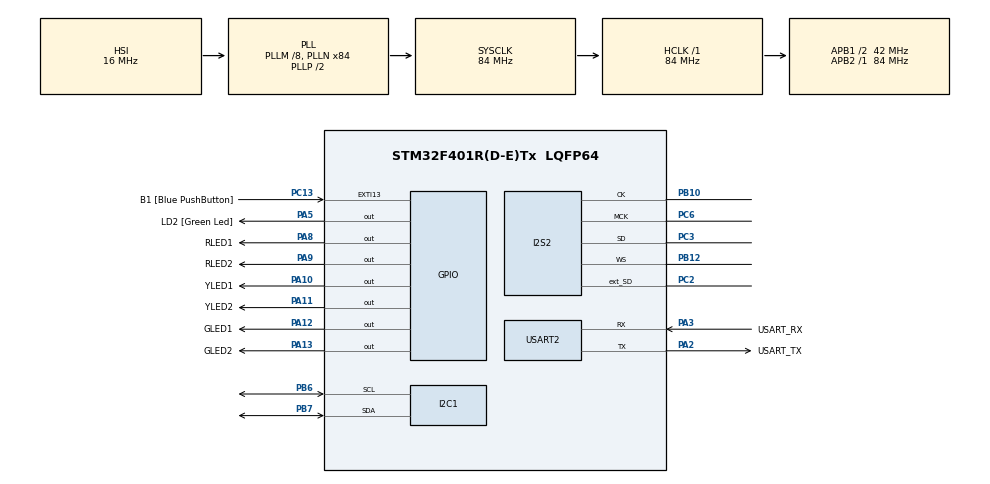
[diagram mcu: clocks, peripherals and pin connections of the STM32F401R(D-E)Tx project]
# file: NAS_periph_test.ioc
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Dma.I2S2_EXT_RX.0.Direction=DMA_PERIPH_TO_MEMORY
Dma.I2S2_EXT_RX.0.FIFOMode=DMA_FIFOMODE_DISABLE
Dma.I2S2_EXT_RX.0.Instance=DMA1_Stream3
Dma.I2S2_EXT_RX.0.MemDataAlignment=DMA_MDATAALIGN_HALFWORD
Dma.I2S2_EXT_RX.0.MemInc=DMA_MINC_ENABLE
Dma.I2S2_EXT_RX.0.Mode=DMA_CIRCULAR
Dma.I2S2_EXT_RX.0.PeriphDataAlignment=DMA_PDATAALIGN_HALFWORD
Dma.I2S2_EXT_RX.0.PeriphInc=DMA_PINC_DISABLE
Dma.I2S2_EXT_RX.0.Priority=DMA_PRIORITY_LOW
Dma.Request0=I2S2_EXT_RX
Dma.Request1=SPI2_TX
Dma.SPI2_TX.1.Direction=DMA_MEMORY_TO_PERIPH
Dma.SPI2_TX.1.FIFOMode=DMA_FIFOMODE_DISABLE
Dma.SPI2_TX.1.Instance=DMA1_Stream4
Dma.SPI2_TX.1.MemDataAlignment=DMA_MDATAALIGN_HALFWORD
Dma.SPI2_TX.1.MemInc=DMA_MINC_ENABLE
Dma.SPI2_TX.1.Mode=DMA_CIRCULAR
Dma.SPI2_TX.1.PeriphDataAlignment=DMA_PDATAALIGN_HALFWORD
Dma.SPI2_TX.1.PeriphInc=DMA_PINC_DISABLE
Dma.SPI2_TX.1.Priority=DMA_PRIORITY_LOW
I2C1.I2C_Mode=I2C_Standard
I2S2.AudioFreq=I2S_AUDIOFREQ_48K
I2S2.DataFormat=I2S_DATAFORMAT_16B
I2S2.ErrorAudioFreq=0.09 %
I2S2.FullDuplexMode=I2S_FULLDUPLEXMODE_ENABLE
I2S2.Instance=SPI$Index
I2S2.Mode=I2S_MODE_MASTER_TX
I2S2.RealAudioFreq=48.046 KHz
I2S2.Standard=I2S_STANDARD_PHILIPS
I2S2.VirtualMode=I2S_MODE_MASTER
Mcu.Family=STM32F4
Mcu.Name=STM32F401R(D-E)Tx
Mcu.Package=LQFP64
NVIC.DMA1_Stream3_IRQn=true\:0\:0\:false\:false\:true\:false\:true\:true
NVIC.DMA1_Stream4_IRQn=true\:0\:0\:false\:false\:true\:false\:true\:true
NVIC.PriorityGroup=NVIC_PRIORITYGROUP_0
NVIC.TIM3_IRQn=true\:0\:0\:false\:false\:true\:true\:true\:true
PA10.GPIO_Label=YLED1
PA10.Signal=GPIO_Output
PA11.GPIO_Label=YLED2
PA11.Signal=GPIO_Output
PA12.GPIO_Label=GLED1
PA12.Signal=GPIO_Output
PA13.GPIO_Label=GLED2
PA13.Signal=GPIO_Output
PA14.GPIO_Label=TCK
PA14.Signal=SYS_JTCK-SWCLK
PA2.GPIO_Label=USART_TX
PA2.GPIO_Mode=GPIO_MODE_AF_PP
PA2.GPIO_PuPd=GPIO_NOPULL
PA2.GPIO_Speed=GPIO_SPEED_FREQ_LOW
PA2.Mode=Asynchronous
PA2.Signal=USART2_TX
PA3.GPIO_Label=USART_RX
PA3.GPIO_Mode=GPIO_MODE_AF_PP
PA3.GPIO_PuPd=GPIO_NOPULL
PA3.GPIO_Speed=GPIO_SPEED_FREQ_LOW
PA3.Mode=Asynchronous
PA3.Signal=USART2_RX
PA5.GPIO_Label=LD2 [Green Led]
PA5.GPIO_Mode=GPIO_MODE_OUTPUT_PP
PA5.GPIO_PuPd=GPIO_NOPULL
PA5.GPIO_Speed=GPIO_SPEED_FREQ_LOW
PA5.Signal=GPIO_Output
PA8.GPIO_Label=RLED1
PA8.Signal=GPIO_Output
PA9.GPIO_Label=RLED2
PA9.Signal=GPIO_Output
PB10.Mode=Full_Duplex_Master
PB10.Signal=I2S2_CK
PB12.Mode=Full_Duplex_Master
PB12.Signal=I2S2_WS
PB3.GPIO_Label=SWO
PB3.Signal=SYS_JTDO-SWO
PB6.Mode=I2C
PB6.Signal=I2C1_SCL
PB7.Mode=I2C
PB7.Signal=I2C1_SDA
PC13-ANTI_TAMP.GPIO_Label=B1 [Blue PushButton]
PC13-ANTI_TAMP.GPIO_ModeDefaultEXTI=GPIO_MODE_IT_FALLING
PC13-ANTI_TAMP.GPIO_PuPd=GPIO_NOPULL
PC13-ANTI_TAMP.Signal=GPXTI13
PC14-OSC32_IN.Mode=LSE-External-Oscillator
PC14-OSC32_IN.Signal=RCC_OSC32_IN
PC15-OSC32_OUT.Mode=LSE-External-Oscillator
PC15-OSC32_OUT.Signal=RCC_OSC32_OUT
PC2.Mode=Full_Duplex_Master
PC2.Signal=I2S2_ext_SD
PC3.Mode=Full_Duplex_Master
PC3.Signal=I2S2_SD
PC6.Mode=Master_Clock_Activated
PC6.Signal=I2S2_MCK
PH0\ -\ OSC_IN.Mode=HSE-External-Clock-Source
PH0\ -\ OSC_IN.Signal=RCC_OSC_IN
PH1\ -\ OSC_OUT.Mode=HSE-External-Clock-Source
PH1\ -\ OSC_OUT.Signal=RCC_OSC_OUT
ProjectManager.HeapSize=0x200
ProjectManager.StackSize=0x400
ProjectManager.TargetToolchain=STM32CubeIDE
RCC.48MHZClocksFreq_Value=24000000
RCC.AHBFreq_Value=84000000
RCC.APB1CLKDivider=RCC_HCLK_DIV2
RCC.APB1Freq_Value=42000000
RCC.APB1TimFreq_Value=84000000
RCC.APB2Freq_Value=84000000
RCC.APB2TimFreq_Value=84000000
RCC.CortexFreq_Value=84000000
RCC.HCLKFreq_Value=84000000
RCC.HSE_VALUE=8000000
RCC.HSI_VALUE=16000000
RCC.PLLI2SN=123
RCC.PLLI2SR=5
RCC.PLLM=8
RCC.PLLN=84
RCC.PLLQ=7
RCC.SYSCLKFreq_VALUE=84000000
RCC.SYSCLKSource=RCC_SYSCLKSOURCE_PLLCLK
RCC.VCOOutputFreq_Value=168000000
TIM3.Period=10000-1
TIM3.Prescaler=8400-1
USART2.VirtualMode=VM_ASYNC
VP_TIM3_VS_ClockSourceINT.Mode=Internal
board=NUCLEO-F401RE

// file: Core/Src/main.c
/* USER CODE BEGIN Header */

/* USER CODE END Header */
#include "main.h"

/* USER CODE BEGIN Includes */
#include "stdio.h"
#include "TLV320AIC3101_Codec.h"
/* USER CODE END Includes */

/* USER CODE BEGIN PD */
#define HIGH 1
#define LOW 0
#define NUM_LEDS 6
#define TIMEOUT 500
#define BUFF_SIZE 100
/* USER CODE END PD */

I2C_HandleTypeDef hi2c1;

I2S_HandleTypeDef hi2s2;
DMA_HandleTypeDef hdma_i2s2_ext_rx;
DMA_HandleTypeDef hdma_spi2_tx;

TIM_HandleTypeDef htim3;

UART_HandleTypeDef huart2;

/* USER CODE BEGIN PV */
uint8_t TIM3_ISR_FLAG = 0;
uint16_t LED_PIN[NUM_LEDS]={RLED1_Pin, RLED2_Pin, YLED1_Pin, YLED2_Pin, GLED1_Pin, GLED2_Pin};
Codec codec;
uint16_t rx_data[BUFF_SIZE];
uint16_t tx_data[BUFF_SIZE];
static volatile uint16_t* inBufPtr;
static volatile uint16_t* outBufPtr = &tx_data[0];
char buff[100];
int i = 0;
/* USER CODE END PV */

void SystemClock_Config(void);
static void MX_GPIO_Init(void);
static void MX_DMA_Init(void);
static void MX_USART2_UART_Init(void);
static void MX_I2C1_Init(void);
static void MX_TIM3_Init(void);
static void MX_I2S2_Init(void);
/* USER CODE BEGIN PFP */
static void Led_Clear();
//static void Codec_Setup();
/* USER CODE END PFP */

/* USER CODE BEGIN 0 */
static void Led_Clear(){
	HAL_GPIO_WritePin(GPIOA, RLED1_Pin|RLED2_Pin|YLED1_Pin|YLED2_Pin|GLED1_Pin|GLED2_Pin, GPIO_PIN_RESET);
}

/* 2 DMA streams are used, 1 RX ,1 TX */
/* move half of the receiving DMA into the half of the transimitting DMA */
void process_half(){
	  for(uint8_t n=0 ; n < (BUFF_SIZE/2)-1; n+=2){
		  //LEFT
		  outBufPtr[n]=inBufPtr[n];
		  //RIGHT
		  outBufPtr[n+1]=inBufPtr[n+1];
	  }
}

/* first half ready DMA callback*/
void HAL_I2SEx_TxRxHalfCpltCallback(I2S_HandleTypeDef *hi2s){
	outBufPtr = &tx_data[0];
	inBufPtr = &rx_data[0];
	process_half(); // move data from RX to TX DMA
}
/* second half ready DMA callback*/
void HAL_I2SEx_TxRxCpltCallback(I2S_HandleTypeDef *hi2s){
	outBufPtr = &tx_data[BUFF_SIZE/2];
	inBufPtr = &rx_data[BUFF_SIZE/2];
	process_half(); // move data from RX to TX DMA
	i = 1;
}
/*TIMER 3 used to turn on LED every second*/
void HAL_TIM_PeriodElapsedCallback(TIM_HandleTypeDef *htim){
	if(htim == &htim3)
		TIM3_ISR_FLAG = 1;
}

/* USER CODE END 0 */

int main(void)
{
  /* USER CODE BEGIN 1 */
  uint8_t led_index = 0;
  /* USER CODE END 1 */

  /* MCU Configuration--------------------------------------------------------*/

  /* Reset of all peripherals, Initializes the Flash interface and the Systick. */
  HAL_Init();

  /* Configure the system clock */
  SystemClock_Config();

  /* Initialize all configured peripherals */
  MX_GPIO_Init();
  MX_DMA_Init();
  MX_USART2_UART_Init();
  MX_I2C1_Init();
  MX_TIM3_Init();
  MX_I2S2_Init();
  /* USER CODE BEGIN 2 */

  /* Codec Setup */
  if(Codec_Init(&codec, &hi2c1) != HAL_OK){
	  while(1){
	  	  HAL_GPIO_TogglePin(GPIOA, LD2_Pin);
	  	  HAL_Delay(1000);
	  }}
  else{
	  	  HAL_GPIO_WritePin(GPIOA, LD2_Pin, 0);
  }

  if(HAL_I2SEx_TransmitReceive_DMA(&hi2s2, (uint16_t*)tx_data, (uint16_t*)rx_data, BUFF_SIZE) != HAL_OK){
	  while(1){
		  HAL_GPIO_TogglePin(GPIOA, LD2_Pin);
		  HAL_Delay(300);
	  }}
  else{
	  	  HAL_GPIO_WritePin(GPIOA, LD2_Pin, 0);
  }

  //Start the Timer 3 to turn on LEDS
  HAL_TIM_Base_Start_IT(&htim3);

  //Get ADC Flag register and Power Status Register and send them through UART
  uint8_t reg_val;
  //uint8_t power_stat_reg;
  //(36) c
  //Codec_ReadRegister(&codec, 0x24, &ADC_flag_reg);
  //(94) c6
  //Codec_ReadRegister(&codec, 0x5e, &power_stat_reg);
  //Codec_ReadRegister(&codec, 0x13, &ADC_flag_reg);
  //Codec_ReadRegister(&codec, 0x16, &ADC_right);
  //uint8_t len = snprintf(buff, sizeof(buff),"ADC Flag Register:%x \nPower Status Register:%x \n\rADC_left: %x \nADC_right: %x \n",ADC_flag_reg,power_stat_reg,ADC_left,ADC_right);
  //uint8_t len = snprintf(buff, sizeof(buff),"ADC Flag Register:%x\n",ADC_flag_reg);
  //HAL_UART_Transmit(&huart2, (uint8_t*)buff, len, 100);

  /* USER CODE END 2 */

  /* Infinite loop */
  /* USER CODE BEGIN WHILE */
//  uint16_t data[100];

  while (1){

	  if(TIM3_ISR_FLAG){
		  //set new led
		  HAL_GPIO_WritePin(GPIOA, LED_PIN[led_index], HIGH);
		  led_index++;
		  if(led_index == NUM_LEDS+1){
			  led_index = 0;
			  //reset leds
			  Led_Clear();
		  }
		  TIM3_ISR_FLAG = 0;

		 /* Codec_ReadRegister(&codec, 0x0b, &reg_val);
		  uint8_t len = snprintf(buff, sizeof(buff),"ADC-DAC overflow:%x\n",reg_val);
		  HAL_UART_Transmit(&huart2, (uint8_t*)buff, len, 100);

		  Codec_ReadRegister(&codec, 0x0b, &reg_val); // let's check is not muted the out driver
		  int len = snprintf(buff, sizeof(buff),"Reg Val=%x \n\r",reg_val);
		  HAL_UART_Transmit(&huart2, (uint8_t*)buff, len, 100);*/
      // OK, HPLOUT+HPROUT on, not short circuited, not all programmed gains are applied yet
      // OK, HPLCOM+HPRCOM on, not short circuited
      // OK, DAC selected L2 path to high power outs + OK, not muted
      // Read reg 11, with high input volume, i got value 0xa1 (10100001) which means both left ADC+DAC where overflowing

	  }

	  if(i==1){
		  Codec_ReadRegister(&codec, 0x0b, &reg_val); // let's check is not muted the out driver
		  uint8_t len = snprintf(buff, sizeof(buff),"RX: %d,  TX: %d, REG_VAL:%x\n\r",rx_data[0],tx_data[0], reg_val);
		  HAL_UART_Transmit(&huart2, (uint8_t*)buff, len, 100);
		  //HAL_UART_Transmit_DMA(&huart2, (uint8_t*)buff, 100);
	  }
	  //HAL_Delay(10);
    /* USER CODE END WHILE */

  }
}

void SystemClock_Config(void)
{
  RCC_OscInitTypeDef RCC_OscInitStruct = {0};
  RCC_ClkInitTypeDef RCC_ClkInitStruct = {0};

  /** Configure the main internal regulator output voltage
  */
  __HAL_RCC_PWR_CLK_ENABLE();
  __HAL_PWR_VOLTAGESCALING_CONFIG(PWR_REGULATOR_VOLTAGE_SCALE2);

  /** Initializes the RCC Oscillators according to the specified parameters
  * in the RCC_OscInitTypeDef structure.
  */
  RCC_OscInitStruct.OscillatorType = RCC_OSCILLATORTYPE_HSI;
  RCC_OscInitStruct.HSIState = RCC_HSI_ON;
  RCC_OscInitStruct.HSICalibrationValue = RCC_HSICALIBRATION_DEFAULT;
  RCC_OscInitStruct.PLL.PLLState = RCC_PLL_ON;
  RCC_OscInitStruct.PLL.PLLSource = RCC_PLLSOURCE_HSI;
  RCC_OscInitStruct.PLL.PLLM = 8;
  RCC_OscInitStruct.PLL.PLLN = 84;
  RCC_OscInitStruct.PLL.PLLP = RCC_PLLP_DIV2;
  RCC_OscInitStruct.PLL.PLLQ = 7;
  if (HAL_RCC_OscConfig(&RCC_OscInitStruct) != HAL_OK)
  {
    Error_Handler();
  }

  /** Initializes the CPU, AHB and APB buses clocks
  */
  RCC_ClkInitStruct.ClockType = RCC_CLOCKTYPE_HCLK|RCC_CLOCKTYPE_SYSCLK
                              |RCC_CLOCKTYPE_PCLK1|RCC_CLOCKTYPE_PCLK2;
  RCC_ClkInitStruct.SYSCLKSource = RCC_SYSCLKSOURCE_PLLCLK;
  RCC_ClkInitStruct.AHBCLKDivider = RCC_SYSCLK_DIV1;
  RCC_ClkInitStruct.APB1CLKDivider = RCC_HCLK_DIV2;
  RCC_ClkInitStruct.APB2CLKDivider = RCC_HCLK_DIV1;

  if (HAL_RCC_ClockConfig(&RCC_ClkInitStruct, FLASH_LATENCY_2) != HAL_OK)
  {
    Error_Handler();
  }
}

static void MX_I2C1_Init(void)
{

  hi2c1.Instance = I2C1;
  hi2c1.Init.ClockSpeed = 100000;
  hi2c1.Init.DutyCycle = I2C_DUTYCYCLE_2;
  hi2c1.Init.OwnAddress1 = 0;
  hi2c1.Init.AddressingMode = I2C_ADDRESSINGMODE_7BIT;
  hi2c1.Init.DualAddressMode = I2C_DUALADDRESS_DISABLE;
  hi2c1.Init.OwnAddress2 = 0;
  hi2c1.Init.GeneralCallMode = I2C_GENERALCALL_DISABLE;
  hi2c1.Init.NoStretchMode = I2C_NOSTRETCH_DISABLE;
  if (HAL_I2C_Init(&hi2c1) != HAL_OK)
  {
    Error_Handler();
  }

}

static void MX_I2S2_Init(void)
{

  hi2s2.Instance = SPI2;
  hi2s2.Init.Mode = I2S_MODE_MASTER_TX;
  hi2s2.Init.Standard = I2S_STANDARD_PHILIPS;
  hi2s2.Init.DataFormat = I2S_DATAFORMAT_16B;
  hi2s2.Init.MCLKOutput = I2S_MCLKOUTPUT_ENABLE;
  hi2s2.Init.AudioFreq = I2S_AUDIOFREQ_48K;
  hi2s2.Init.CPOL = I2S_CPOL_LOW;
  hi2s2.Init.ClockSource = I2S_CLOCK_PLL;
  hi2s2.Init.FullDuplexMode = I2S_FULLDUPLEXMODE_ENABLE;
  if (HAL_I2S_Init(&hi2s2) != HAL_OK)
  {
    Error_Handler();
  }

}

static void MX_TIM3_Init(void)
{

  TIM_ClockConfigTypeDef sClockSourceConfig = {0};
  TIM_MasterConfigTypeDef sMasterConfig = {0};

  htim3.Instance = TIM3;
  htim3.Init.Prescaler = 8400-1;
  htim3.Init.CounterMode = TIM_COUNTERMODE_UP;
  htim3.Init.Period = 10000-1;
  htim3.Init.ClockDivision = TIM_CLOCKDIVISION_DIV1;
  htim3.Init.AutoReloadPreload = TIM_AUTORELOAD_PRELOAD_DISABLE;
  if (HAL_TIM_Base_Init(&htim3) != HAL_OK)
  {
    Error_Handler();
  }
  sClockSourceConfig.ClockSource = TIM_CLOCKSOURCE_INTERNAL;
  if (HAL_TIM_ConfigClockSource(&htim3, &sClockSourceConfig) != HAL_OK)
  {
    Error_Handler();
  }
  sMasterConfig.MasterOutputTrigger = TIM_TRGO_RESET;
  sMasterConfig.MasterSlaveMode = TIM_MASTERSLAVEMODE_DISABLE;
  if (HAL_TIMEx_MasterConfigSynchronization(&htim3, &sMasterConfig) != HAL_OK)
  {
    Error_Handler();
  }

}

static void MX_USART2_UART_Init(void)
{

  huart2.Instance = USART2;
  huart2.Init.BaudRate = 115200;
  huart2.Init.WordLength = UART_WORDLENGTH_8B;
  huart2.Init.StopBits = UART_STOPBITS_1;
  huart2.Init.Parity = UART_PARITY_NONE;
  huart2.Init.Mode = UART_MODE_TX_RX;
  huart2.Init.HwFlowCtl = UART_HWCONTROL_NONE;
  huart2.Init.OverSampling = UART_OVERSAMPLING_16;
  if (HAL_UART_Init(&huart2) != HAL_OK)
  {
    Error_Handler();
  }

}

static void MX_DMA_Init(void)
{

  /* DMA controller clock enable */
  __HAL_RCC_DMA1_CLK_ENABLE();

  /* DMA interrupt init */
  /* DMA1_Stream3_IRQn interrupt configuration */
  HAL_NVIC_SetPriority(DMA1_Stream3_IRQn, 0, 0);
  HAL_NVIC_EnableIRQ(DMA1_Stream3_IRQn);
  /* DMA1_Stream4_IRQn interrupt configuration */
  HAL_NVIC_SetPriority(DMA1_Stream4_IRQn, 0, 0);
  HAL_NVIC_EnableIRQ(DMA1_Stream4_IRQn);

}

static void MX_GPIO_Init(void)
{
  GPIO_InitTypeDef GPIO_InitStruct = {0};

  /* GPIO Ports Clock Enable */
  __HAL_RCC_GPIOC_CLK_ENABLE();
  __HAL_RCC_GPIOH_CLK_ENABLE();
  __HAL_RCC_GPIOA_CLK_ENABLE();
  __HAL_RCC_GPIOB_CLK_ENABLE();

  /*Configure GPIO pin Output Level */
  HAL_GPIO_WritePin(GPIOA, LD2_Pin|RLED1_Pin|RLED2_Pin|YLED1_Pin
                          |YLED2_Pin|GLED1_Pin|GLED2_Pin, GPIO_PIN_RESET);

  /*Configure GPIO pin : B1_Pin */
  GPIO_InitStruct.Pin = B1_Pin;
  GPIO_InitStruct.Mode = GPIO_MODE_IT_FALLING;
  GPIO_InitStruct.Pull = GPIO_NOPULL;
  HAL_GPIO_Init(B1_GPIO_Port, &GPIO_InitStruct);

  /*Configure GPIO pins : LD2_Pin RLED1_Pin RLED2_Pin YLED1_Pin
                           YLED2_Pin GLED1_Pin GLED2_Pin */
  GPIO_InitStruct.Pin = LD2_Pin|RLED1_Pin|RLED2_Pin|YLED1_Pin
                          |YLED2_Pin|GLED1_Pin|GLED2_Pin;
  GPIO_InitStruct.Mode = GPIO_MODE_OUTPUT_PP;
  GPIO_InitStruct.Pull = GPIO_NOPULL;
  GPIO_InitStruct.Speed = GPIO_SPEED_FREQ_LOW;
  HAL_GPIO_Init(GPIOA, &GPIO_InitStruct);

}

/* USER CODE BEGIN 4 */

/*
static void Codec_Setup(){
	//I2C set to 100 kHz
	//uint8_t CDC_REG0_VAL = HAL_I2C_Master_Receive(&hi2c1, CODEC_I2C_ADDR, &CDC_REG0_ADDR, sizeof(CDC_REG0_ADDR), TIMEOUT);

	//if(CDC_REG0_VAL == 0){ PAGE 0 OK
		//write ADC/DAC sampling frequency
		if(HAL_I2C_Master_Transmit(&hi2c1, CODEC_I2C_ADDR, CDC_REG2, 2, TIMEOUT)!= HAL_OK)
			HAL_GPIO_WritePin(GPIOA, LD2_Pin, GPIO_PIN_SET);
		//write fref
		HAL_I2C_Master_Transmit(&hi2c1, CODEC_I2C_ADDR, CDC_REG7, sizeof(CDC_REG7), TIMEOUT);
		// codec general bypass, direct connection input to output
		//HAL_I2C_Master_Transmit(&hi2c1, CODEC_I2C_ADDR, CDC_REG108, sizeof(CDC_REG108), TIMEOUT);
		// aaaaaaaa
		HAL_I2C_Master_Transmit(&hi2c1, CODEC_I2C_ADDR, CDC_REG37, sizeof(CDC_REG37), TIMEOUT);
		HAL_I2C_Master_Transmit(&hi2c1, CODEC_I2C_ADDR, CDC_REG41, sizeof(CDC_REG41), TIMEOUT);
		HAL_I2C_Master_Transmit(&hi2c1, CODEC_I2C_ADDR, CDC_REG43, sizeof(CDC_REG43), TIMEOUT);
		HAL_I2C_Master_Transmit(&hi2c1, CODEC_I2C_ADDR, CDC_REG51, sizeof(CDC_REG51), TIMEOUT);
		HAL_I2C_Master_Transmit(&hi2c1, CODEC_I2C_ADDR, CDC_REG94, sizeof(CDC_REG94), TIMEOUT);
		//read pll status
		//HAL_I2C_Master_Transmit(&hi2c1, CODEC_I2C_ADDR, &PLL_EN_REG, sizeof(PLL_EN_REG), TIMEOUT);
		//if(HAL_I2C_Master_Receive(&hi2c1, CODEC_I2C_ADDR, &pll_reg_val, sizeof(pll_reg_val), TIMEOUT) != HAL_OK){
			//HAL_GPIO_WritePin(GPIOA, LD2_Pin, GPIO_PIN_SET);
			//HAL_GPIO_WritePin(GPIOA, LD2_Pin, GPIO_PIN_SET);
		//}
		//}else{
			//HAL_GPIO_WritePin(GPIOA, LD2_Pin, GPIO_PIN_RESET);
		//}

	//}
}*/

/* USER CODE END 4 */

void Error_Handler(void)
{
  __disable_irq();
  while (1)
  {
  }
}
